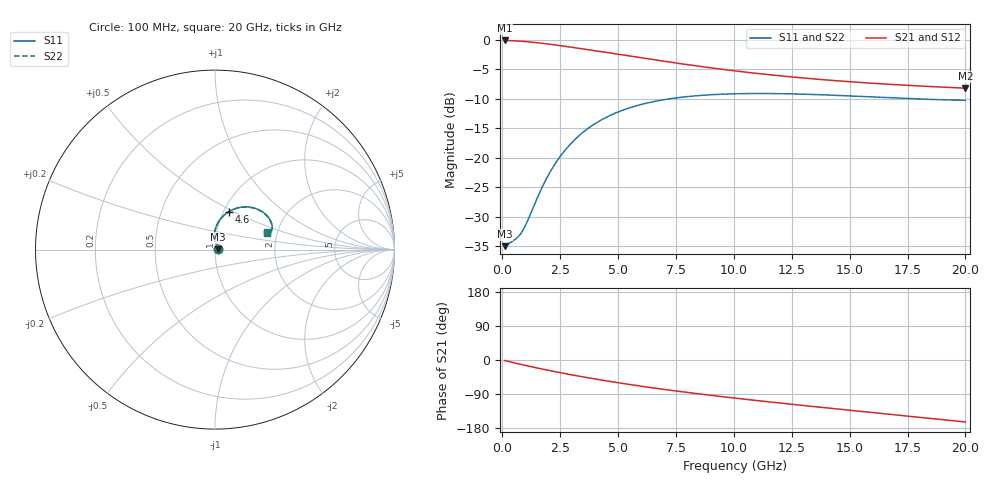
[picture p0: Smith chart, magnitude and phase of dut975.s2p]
! Touchstone file exported from HFSS 2024.1.0
!  File:  C:/UserFiles/LocalFiles/RDL_TSV_Batchsim/temp_RDL_TSV_975_1779972117.aedt
!  Generated:  08:56:14 PM May 28, 2026
!  Design:  RDL_TSV
!  Project:  temp_RDL_TSV_975_1779972117
!  Setup:  Setup1
!  Solution:  Sweep
! Variables:
!  dtsv = 7.27um
!  hbump = 3um
!  htsv = 85.39um
!  ldown = 328.1um
!  lrdl = 275.16um
!  p = 40
!  p1 = 54.17um
!  rhole = 10um
!  subl = 2084.94um
!  t = 450um
!  tdown = 2.4um
!  trdl = 2.5um
!  viad = 10um
!  wdown = 14.02um
!  wrdl = 25.68um
!  xbump = 18um
# GHz S MA R 50.000000
! Terminal data exported
! Port[1] = TM1_1_T1
! Port[2] = TM1_4_T1
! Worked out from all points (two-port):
!   200 points, 100 MHz to 20 GHz, reference 50 ohm
!   highest |S21| = -0.16 dB at 100 MHz (marker M1); lowest = -8.2 dB at 20 GHz (marker M2)
!   |S21| within 3 dB of the highest: start of sweep to 6.094 GHz
!   lowest |S11| = -35.0 dB at 100 MHz (marker M3), VSWR 1.04, Z = 51.8 + j0.251 ohm
!   |S11| at or under -10 dB: start of sweep to 7.306 GHz; 17.54 GHz to end of sweep
!   |S22| runs from -35.0 to -9.2 dB; largest |S21 - S12| = 1.7e-14
!   S11 on the Smith chart (normalised r, x): 100 MHz: 1.04, +0.01; 4.6 GHz: 1.06, +0.47; 20 GHz: 1.77, +0.37
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0.1  0.01773 7.9  0.9821 -1.5  0.9821 -1.5  0.01773 7.9
! Gamma 0 0 0 0
! Port Impedance 50 0 50 0
0.6  0.02052 41.2  0.9733 -8.7  0.9733 -8.7  0.02053 41.1
0.8  0.02267 55.1  0.9675 -11.5  0.9675 -11.5  0.02267 55.0
1  0.02657 68.1  0.9607 -14.3  0.9607 -14.3  0.02657 67.9
1.6  0.04975 89.1  0.935 -22.3  0.935 -22.3  0.04965 89.0
1.8  0.06024 91.2  0.9252 -24.9  0.9252 -24.9  0.0601 91.1
2.2  0.08352 91.8  0.9043 -29.9  0.9043 -29.9  0.08329 91.6
2.5  0.1021 90.3  0.888 -33.5  0.888 -33.5  0.1018 90.2
2.8  0.1211 88.1  0.8713 -37.0  0.8713 -37.0  0.1207 88.0
3.1  0.1399 85.4  0.8545 -40.4  0.8545 -40.4  0.1395 85.3
3.5  0.1644 81.4  0.8321 -44.7  0.8321 -44.7  0.1639 81.3
4  0.1933 76.3  0.8043 -50.0  0.8043 -50.0  0.1927 76.2
4.6  0.2246 70.2  0.7716 -56.1  0.7716 -56.1  0.2238 70.1
5.6  0.2676 60.8  0.7195 -65.6  0.7195 -65.6  0.2667 60.7
6.8  0.3047 51.0  0.6625 -76.0  0.6625 -76.0  0.3037 51.0
8.4  0.3341 40.5  0.5971 -88.7  0.5971 -88.7  0.3329 40.4
10.1  0.3472 32.0  0.541 -100.9  0.541 -100.9  0.3459 31.9
11.7  0.3484 25.9  0.4993 -111.7  0.4993 -111.7  0.347 25.8
13.4  0.3423 21.3  0.4645 -122.6  0.4645 -122.6  0.341 21.2
15  0.3329 18.5  0.4389 -132.6  0.4389 -132.6  0.3315 18.4
16.7  0.3215 17.1  0.4175 -143.1  0.4175 -143.1  0.3201 17.0
20  0.3055 18.2  0.3871 -163.6  0.3871 -163.6  0.3042 18.1
